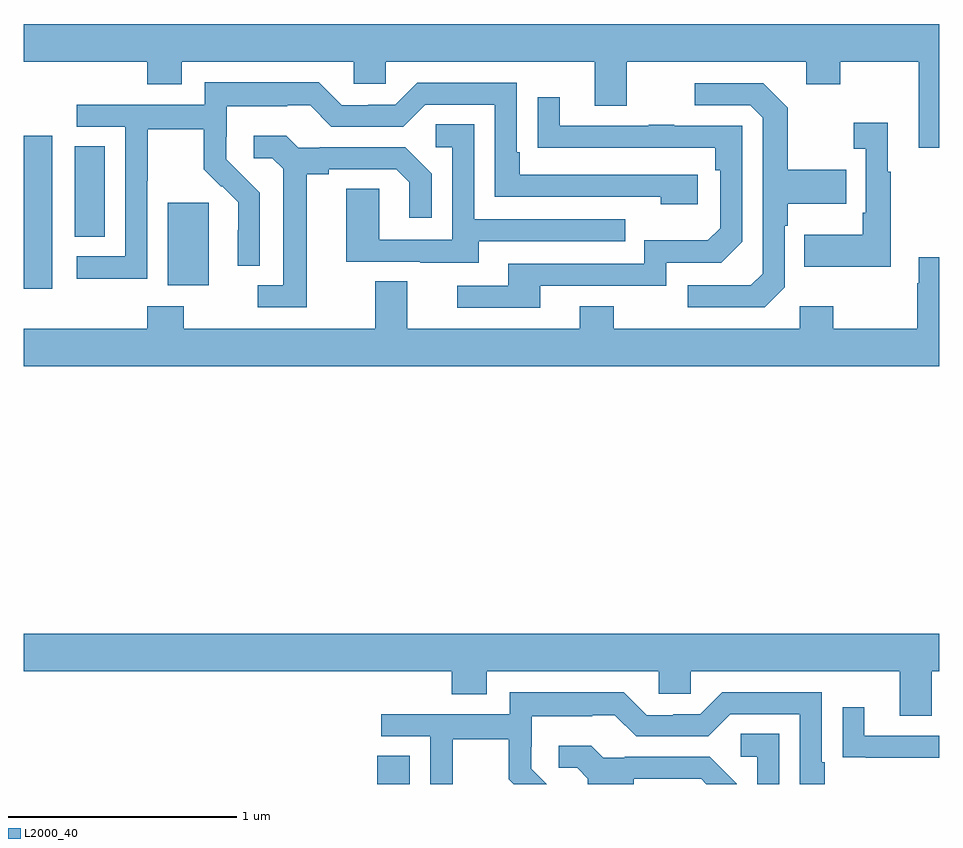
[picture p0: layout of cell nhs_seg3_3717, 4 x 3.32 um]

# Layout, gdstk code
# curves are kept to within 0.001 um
import gdstk
lib = gdstk.Library(unit=1e-6, precision=1e-09)
def R(c, l, rs):  # rectangles x0, y0, x1, y1
    for r in rs: c.add(gdstk.rectangle(r[:2], r[2:], *l))
def P(c, l, *ps):  # polygons
    for p in ps: c.add(gdstk.Polygon(p, *l))
L2000_40 = (2000, 40)

nhs_seg3_3717 = lib.new_cell('nhs_seg3_3717')
R(nhs_seg3_3717, L2000_40, [(304.544,724.4,304.687,724.523), (303,726.564,303.124,727.231), (303.629,726.578,303.808,726.939), (303.224,726.79,303.355,727.187)])
P(nhs_seg3_3717, L2000_40, [(307,727.72),(303,727.72),(303,727.556),(303.539,727.556),(303.539,727.457),(303.691,727.457),(303.691,727.556),(304.443,727.556),(304.443,727.458),(304.581,727.458),(304.581,727.556),(305.495,727.556),(305.495,727.362),(305.635,727.362),(305.635,727.556),(306.419,727.556),(306.419,727.457),(306.567,727.457),(306.567,727.556),(306.911,727.556),(306.911,727.179),(307,727.179)],
  [(303.54,727.036),(303.543,727.036),(303.543,727.26),(303.787,727.26),(303.787,727.085),(303.864,727.008),(303.867,727.011),(303.938,726.941),(303.938,726.818),(303.936,726.818),(303.936,726.664),(304.032,726.664),(304.032,726.982),(303.886,727.13),(303.886,727.227),(303.888,727.227),(303.888,727.361),(304.151,727.361),(304.151,727.365),(304.251,727.365),(304.344,727.272),(304.659,727.272),(304.755,727.368),(305.058,727.368),(305.058,726.966),(305.783,726.966),(305.783,726.932),(305.944,726.932),(305.944,727.062),(305.167,727.062),(305.167,727.159),(305.154,727.159),(305.154,727.464),(304.719,727.464),(304.623,727.368),(304.505,727.368),(304.505,727.365),(304.389,727.365),(304.289,727.465),(303.792,727.465),(303.792,727.368),(303.231,727.368),(303.231,727.272),(303.444,727.272),(303.444,726.705),(303.231,726.705),(303.231,726.607),(303.54,726.607)],
  [(306.324,726.57),(306.324,726.839),(306.337,726.839),(306.337,726.935),(306.593,726.935),(306.593,727.083),(306.337,727.083),(306.337,727.355),(306.231,727.461),(305.931,727.461),(305.931,727.365),(306.174,727.365),(306.228,727.311),(306.228,726.63),(306.177,726.579),(305.901,726.579),(305.901,726.483),(306.237,726.483)],
  [(305.257,726.576),(305.808,726.576),(305.808,726.678),(306.048,726.678),(306.138,726.768),(306.138,727.275),(305.843,727.275),(305.843,727.28),(305.731,727.28),(305.731,727.275),(305.341,727.275),(305.341,727.399),(305.245,727.399),(305.245,727.18),(306.022,727.179),(306.022,727.082),(306.042,727.082),(306.042,726.828),(305.989,726.775),(305.712,726.775),(305.712,726.672),(305.117,726.672),(305.117,726.576),(304.893,726.576),(304.893,726.48),(305.257,726.48)],
  [(306.787,727.075),(306.775,727.075),(306.775,727.288),(306.627,727.288),(306.627,727.175),(306.678,727.175),(306.678,726.895),(306.666,726.895),(306.666,726.799),(306.409,726.799),(306.409,726.659),(306.787,726.659)],
  [(304.987,726.771),(305.627,726.771),(305.627,726.867),(304.968,726.867),(304.968,727.283),(304.8,727.283),(304.8,727.182),(304.872,727.182),(304.872,726.777),(304.554,726.777),(304.554,727.001),(304.409,727.001),(304.409,726.681),(304.733,726.681),(304.733,726.677),(304.987,726.677)],
  [(304.237,727.064),(304.333,727.064),(304.333,727.086),(304.628,727.086),(304.685,727.029),(304.685,726.873),(304.782,726.873),(304.782,727.066),(304.666,727.182),(304.294,727.182),(304.294,727.179),(304.2,727.179),(304.148,727.231),(304.005,727.231),(304.005,727.134),(304.086,727.134),(304.133,727.087),(304.133,726.579),(304.023,726.579),(304.023,726.483),(304.237,726.483)],
  [(307,726.7),(306.911,726.7),(306.911,726.587),(306.904,726.587),(306.904,726.388),(306.537,726.388),(306.537,726.487),(306.39,726.487),(306.39,726.388),(305.577,726.388),(305.577,726.487),(305.429,726.487),(305.429,726.388),(304.675,726.388),(304.675,726.596),(304.535,726.596),(304.535,726.388),(303.699,726.388),(303.699,726.487),(303.539,726.487),(303.539,726.388),(303,726.388),(303,726.224),(307,726.224)],
  [(306.967,724.892),(307,724.892),(307,725.056),(303,725.056),(303,724.892),(304.871,724.892),(304.871,724.793),(305.023,724.793),(305.023,724.892),(305.775,724.892),(305.775,724.794),(305.913,724.794),(305.913,724.892),(306.827,724.892),(306.827,724.698),(306.967,724.698)],
  [(304.875,724.596),(305.119,724.596),(305.119,724.421),(305.14,724.4),(305.284,724.4),(305.218,724.466),(305.218,724.563),(305.22,724.563),(305.22,724.697),(305.483,724.697),(305.483,724.701),(305.583,724.701),(305.676,724.608),(305.991,724.608),(306.087,724.704),(306.39,724.704),(306.39,724.4),(306.499,724.4),(306.499,724.495),(306.486,724.495),(306.486,724.8),(306.051,724.8),(305.955,724.704),(305.837,724.704),(305.837,724.701),(305.721,724.701),(305.621,724.801),(305.124,724.801),(305.124,724.704),(304.563,724.704),(304.563,724.608),(304.776,724.608),(304.776,724.4),(304.875,724.4)],
  [(307,724.611),(306.673,724.611),(306.673,724.735),(306.577,724.735),(306.577,724.516),(306.679,724.516),(306.679,724.515),(307,724.515)],
  [(306.3,724.619),(306.132,724.619),(306.132,724.518),(306.204,724.518),(306.204,724.4),(306.3,724.4)],
  [(305.665,724.422),(305.96,724.422),(305.982,724.4),(306.114,724.4),(306.114,724.402),(305.998,724.518),(305.626,724.518),(305.626,724.515),(305.532,724.515),(305.48,724.567),(305.337,724.567),(305.337,724.47),(305.418,724.47),(305.465,724.423),(305.465,724.4),(305.665,724.4)])

lib.write_gds('nhs_seg3_3717.gds')
